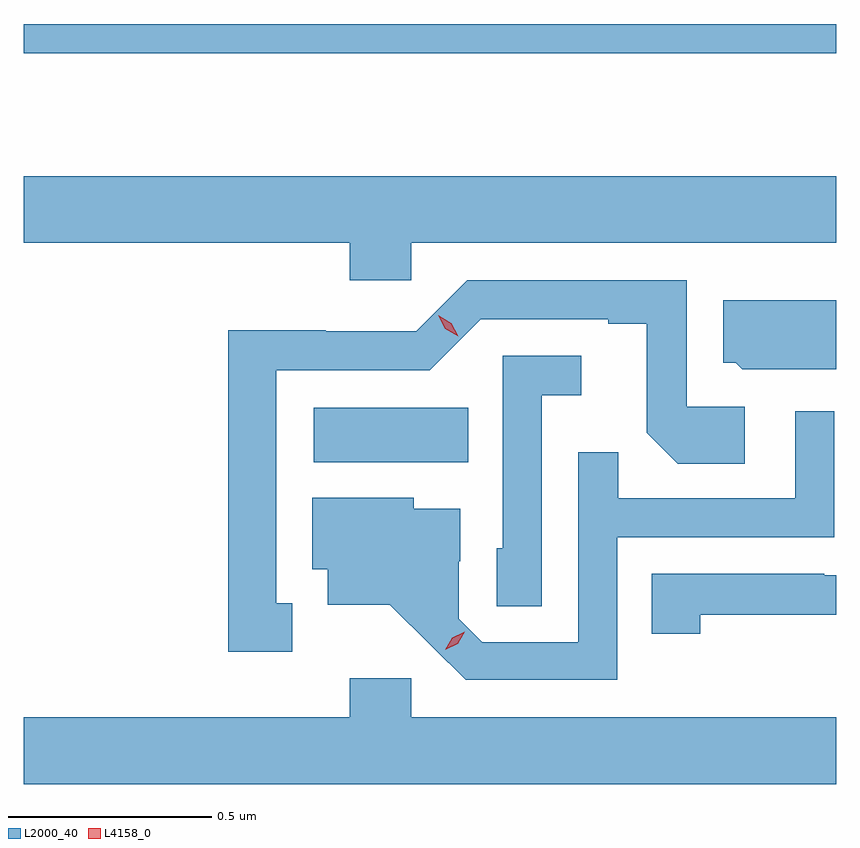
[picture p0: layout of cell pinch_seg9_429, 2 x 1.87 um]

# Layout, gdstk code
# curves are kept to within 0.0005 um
import gdstk
lib = gdstk.Library(unit=1e-6, precision=1e-09)
def R(c, l, rs):  # rectangles x0, y0, x1, y1
    for r in rs: c.add(gdstk.rectangle(r[:2], r[2:], *l))
def P(c, l, *ps):  # polygons
    for p in ps: c.add(gdstk.Polygon(p, *l))
L2000_40 = (2000, 40)
L4158_0 = (4158, 0)

pinch_seg9_429 = lib.new_cell('pinch_seg9_429')
R(pinch_seg9_429, L2000_40, [(238.386,1215.86,238.766,1215.994), (237.672,1216.866,239.672,1216.938)])
P(pinch_seg9_429, L2000_40, [(238.626,1216.4),(239.672,1216.4),(239.672,1216.564),(237.672,1216.564),(237.672,1216.4),(238.475,1216.4),(238.475,1216.307),(238.626,1216.307)],
  [(238.333,1215.513),(238.294,1215.513),(238.294,1216.086),(238.671,1216.086),(238.797,1216.212),(239.111,1216.212),(239.111,1216.2),(239.205,1216.2),(239.205,1215.932),(239.281,1215.856),(239.446,1215.856),(239.446,1215.996),(239.304,1215.996),(239.304,1216.308),(238.764,1216.308),(238.638,1216.182),(238.416,1216.182),(238.416,1216.184),(238.176,1216.184),(238.176,1215.393),(238.333,1215.393)],
  [(239.574,1216.089),(239.672,1216.089),(239.672,1216.258),(239.393,1216.258),(239.393,1216.104),(239.424,1216.104),(239.44,1216.088),(239.574,1216.088)],
  [(238.947,1216.025),(239.044,1216.025),(239.044,1216.122),(238.851,1216.122),(238.851,1215.648),(238.836,1215.648),(238.836,1215.505),(238.947,1215.505)],
  [(239.133,1215.675),(239.667,1215.675),(239.667,1215.985),(239.571,1215.985),(239.571,1215.771),(239.135,1215.771),(239.135,1215.884),(239.037,1215.884),(239.037,1215.417),(238.8,1215.417),(238.743,1215.474),(238.743,1215.616),(238.747,1215.616),(238.747,1215.745),(238.632,1215.745),(238.632,1215.772),(238.382,1215.772),(238.382,1215.596),(238.421,1215.596),(238.421,1215.509),(238.573,1215.509),(238.76,1215.324),(239.133,1215.324)],
  [(239.337,1215.484),(239.672,1215.484),(239.672,1215.582),(239.642,1215.582),(239.642,1215.585),(239.218,1215.585),(239.218,1215.438),(239.337,1215.438)],
  [(239.672,1215.232),(238.626,1215.232),(238.626,1215.328),(238.475,1215.328),(238.475,1215.232),(237.672,1215.232),(237.672,1215.068),(239.672,1215.068)])
P(pinch_seg9_429, L4158_0, [(238.709,1215.398),(238.709,1215.398),(238.727,1215.428),(238.757,1215.443),(238.758,1215.443),(238.758,1215.443),(238.74,1215.413),(238.71,1215.398)],
  [(238.741,1216.17),(238.709,1216.188),(238.692,1216.221),(238.692,1216.221),(238.692,1216.221),(238.724,1216.202),(238.741,1216.17),(238.741,1216.17)])

lib.write_gds('pinch_seg9_429.gds')
